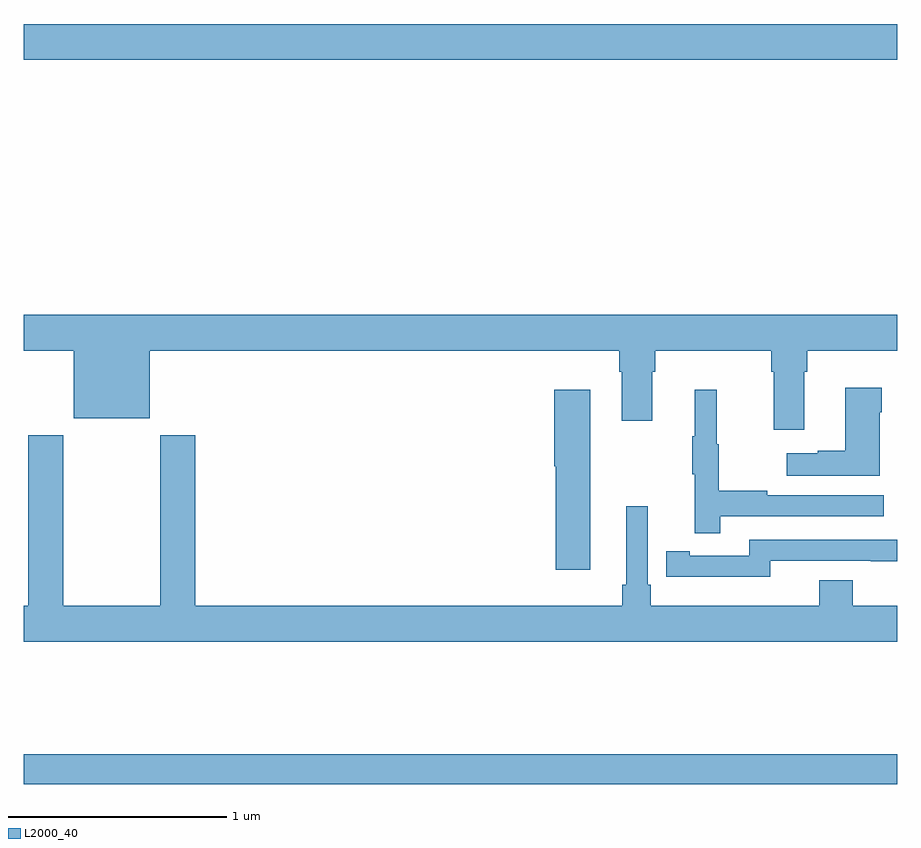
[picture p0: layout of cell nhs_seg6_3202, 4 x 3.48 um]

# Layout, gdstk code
import gdstk
lib = gdstk.Library(unit=1e-6, precision=1e-09)
def R(c, l, rs):  # rectangles x0, y0, x1, y1
    for r in rs: c.add(gdstk.rectangle(r[:2], r[2:], *l))
def P(c, l, *ps):  # polygons
    for p in ps: c.add(gdstk.Polygon(p, *l))
L2000_40 = (2000, 40)

nhs_seg6_3202 = lib.new_cell('nhs_seg6_3202')
R(nhs_seg6_3202, L2000_40, [(299,948.016,303,948.152), (299,951.332,303,951.496)])
P(nhs_seg6_3202, L2000_40, [(302.575,949.904),(302.588,949.904),(302.588,950),(303,950),(303,950.164),(299,950.164),(299,950),(299.228,950),(299.228,949.691),(299.578,949.691),(299.578,950),(301.727,950),(301.727,949.904),(301.739,949.904),(301.739,949.68),(301.879,949.68),(301.879,949.904),(301.892,949.904),(301.892,950),(302.423,950),(302.423,949.904),(302.435,949.904),(302.435,949.638),(302.575,949.638)],
  [(302.92,949.718),(302.928,949.718),(302.928,949.831),(302.762,949.831),(302.762,949.541),(302.636,949.541),(302.636,949.531),(302.493,949.531),(302.493,949.427),(302.92,949.427)],
  [(301.594,949.822),(301.43,949.822),(301.43,949.47),(301.436,949.47),(301.436,948.996),(301.594,948.996)],
  [(302.189,949.242),(302.938,949.242),(302.938,949.338),(302.405,949.338),(302.405,949.358),(302.182,949.358),(302.182,949.572),(302.174,949.572),(302.174,949.822),(302.072,949.822),(302.072,949.609),(302.061,949.609),(302.061,949.435),(302.072,949.435),(302.072,949.164),(302.189,949.164)],
  [(303,948.832),(302.795,948.832),(302.795,948.949),(302.642,948.949),(302.642,948.832),(301.871,948.832),(301.871,948.928),(301.857,948.928),(301.857,949.288),(301.76,949.288),(301.76,948.928),(301.741,948.928),(301.741,948.832),(299.786,948.832),(299.786,949.612),(299.626,949.612),(299.626,948.832),(299.181,948.832),(299.181,949.612),(299.021,949.612),(299.021,948.832),(299,948.832),(299,948.668),(303,948.668)],
  [(302.418,949.038),(302.878,949.038),(302.878,949.037),(303,949.037),(303,949.134),(302.322,949.134),(302.322,949.062),(302.05,949.062),(302.05,949.082),(301.942,949.082),(301.942,948.966),(302.05,948.966),(302.05,948.965),(302.418,948.965)])

lib.write_gds('nhs_seg6_3202.gds')
